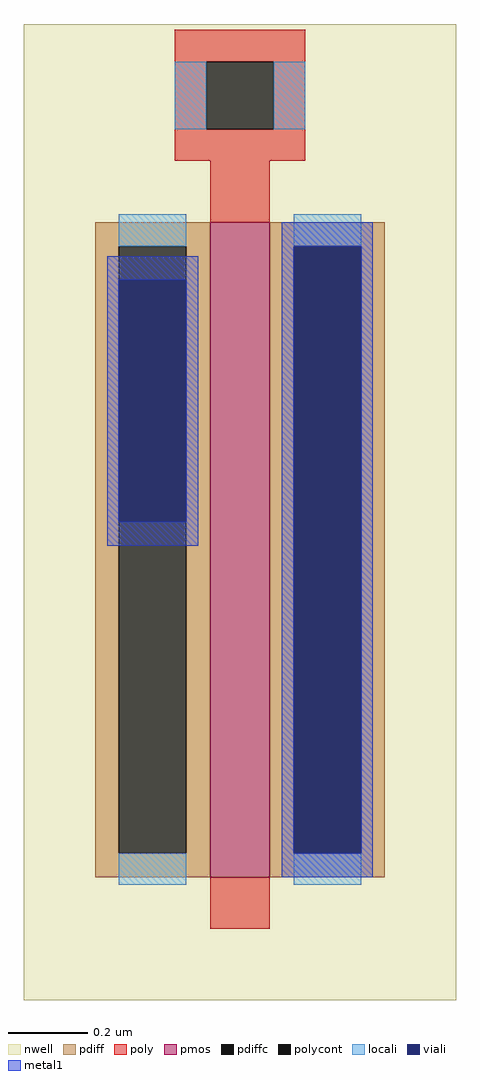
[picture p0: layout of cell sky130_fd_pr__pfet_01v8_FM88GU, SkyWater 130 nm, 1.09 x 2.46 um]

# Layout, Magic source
magic
tech sky130A
magscale 1 2
<< nwell >>
rect -109 -263 109 229
<< pmos >>
rect -15 -201 15 129
<< pdiff >>
rect -73 117 -15 129
rect -73 -189 -61 117
rect -27 -189 -15 117
rect -73 -201 -15 -189
rect 15 117 73 129
rect 15 -189 27 117
rect 61 -189 73 117
rect 15 -201 73 -189
<< pdiffc >>
rect -61 -189 -27 117
rect 27 -189 61 117
<< poly >>
rect -33 210 33 226
rect -33 176 -17 210
rect 17 176 33 210
rect -33 160 33 176
rect -15 129 15 160
rect -15 -227 15 -201
<< polycont >>
rect -17 176 17 210
<< locali >>
rect -33 176 -17 210
rect 17 176 33 210
rect -61 117 -27 133
rect -61 -205 -27 -189
rect 27 117 61 133
rect 27 -205 61 -189
<< viali >>
rect -61 -22 -27 100
rect 27 -189 61 117
<< metal1 >>
rect 21 117 67 129
rect -67 100 -21 112
rect -67 -22 -61 100
rect -27 -22 -21 100
rect -67 -34 -21 -22
rect 21 -189 27 117
rect 61 -189 67 117
rect 21 -201 67 -189
<< properties >>
string gencell sky130_fd_pr__pfet_01v8
string library sky130
string parameters w 1.65 l 0.15 m 1 nf 1 diffcov 100 polycov 100 guard 0 glc 1 grc 1 gtc 1 gbc 1 tbcov 100 rlcov 100 topc 1 botc 0 poverlap 0 doverlap 1 lmin 0.15 wmin 0.42 compatible {sky130_fd_pr__pfet_01v8  sky130_fd_pr__pfet_01v8_lvt sky130_fd_pr__pfet_01v8_hvt  sky130_fd_pr__pfet_g5v0d10v5} full_metal 0 viasrc 100 viadrn -40 viagate 0 viagb 0 viagr 0 viagl 0 viagt 0
<< end >>
